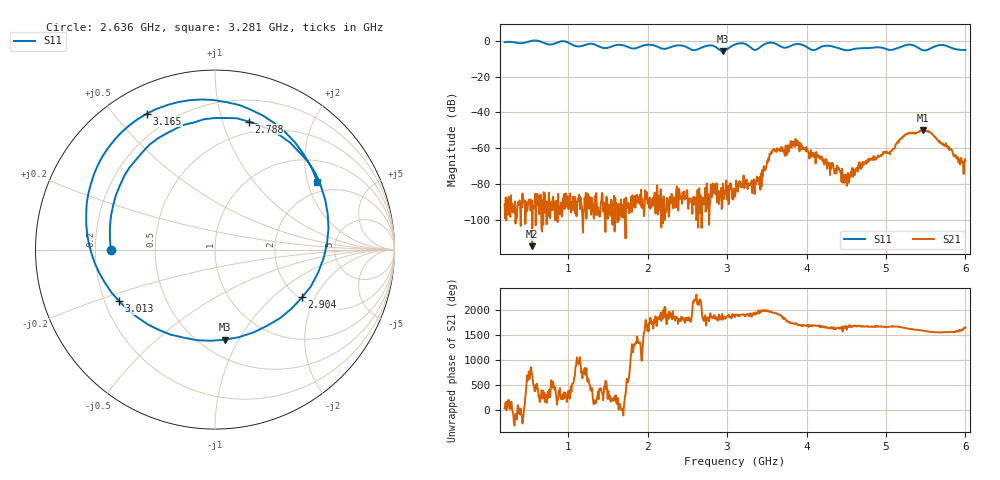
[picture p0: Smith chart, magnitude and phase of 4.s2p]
! NanoVNA-App by OneOfEleven et al v1.1.209 (+OD15)
! Date: 2024-07-30 15:24:08
! Start: 200MHz Stop: 6GHz Points: 801
! S-Parameter data: F S11 S21 S12 S22
# Hz S RI R 50
!  Frequency  S11_Real  S11_Imag  S21_Real  S21_Imag  S12_Real  S12_Imag  S22_Real  S22_Imag
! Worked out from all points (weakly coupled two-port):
!   801 points, 200 MHz to 6 GHz, reference 50 ohm
!   highest |S21| = -49.79 dB at 5.463 GHz (marker M1); lowest = -114.4 dB at 548 MHz (marker M2)
!   lowest |S11| = -5.9 dB at 2.948 GHz (marker M3), VSWR 3.04, Z = 32.6 - j44 ohm
!   |S11| at or under -10 dB: nowhere
!   S12 and S22 are empty: the file has one direction only
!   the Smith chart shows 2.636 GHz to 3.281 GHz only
!   S11 on the Smith chart (normalised r, x): 2.636 GHz: 0.27, -0.00; 2.788 GHz: 0.39, +1.22; 2.904 GHz: 2.07, -1.58; 3.013 GHz: 0.26, -0.24; 3.165 GHz: 0.11, +0.61; 3.281 GHz: 1.62, +2.31
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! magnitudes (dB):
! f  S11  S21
! 200 MHz  -0.8  -91.2
! 548 MHz  0.0  -114.4
! 1.171 GHz  -3.0  -92.1
! 2.136 GHz  -3.6  -89.4
! 2.636 GHz  -4.7  -104.1
! 2.788 GHz  -2.6  -89.7
! 2.904 GHz  -5.1  -87.3
! 2.948 GHz  -5.9  -79.5
! 3.013 GHz  -4.3  -80.9
! 3.1 GHz  -2.1  -86.9
! 3.165 GHz  -1.4  -79.1
! 3.281 GHz  -3.3  -79.6
! 3.419 GHz  -3.5  -83.0
! 3.586 GHz  -1.3  -60.3
! 3.861 GHz  -2.0  -54.7
! 4.072 GHz  -5.2  -64.1
! 4.506 GHz  -5.4  -80.8
! 4.681 GHz  -4.2  -71.6
! 5.036 GHz  -5.1  -62.6
! 5.253 GHz  -2.5  -52.1
! 5.463 GHz  -5.3  -49.8
! 6 GHz  -5.3  -66.8
